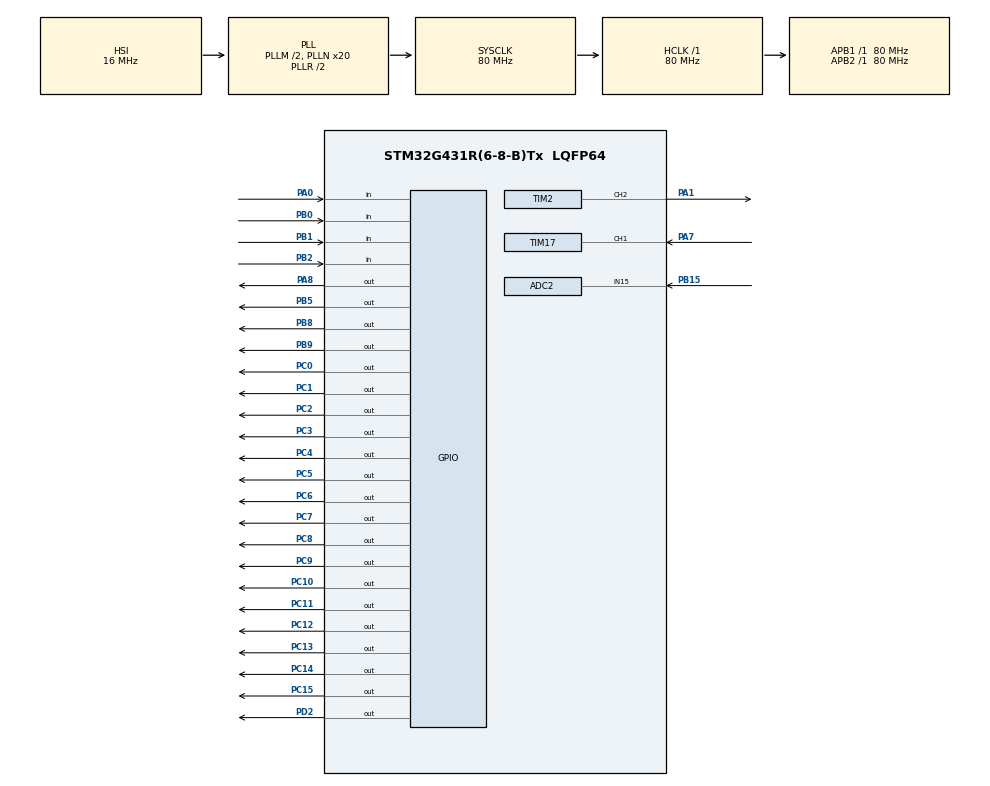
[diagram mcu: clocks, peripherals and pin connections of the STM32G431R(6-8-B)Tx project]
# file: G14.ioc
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ADC2.Channel-0\#ChannelRegularConversion=ADC_CHANNEL_15
ADC2.NbrOfConversionFlag=1
ADC2.OffsetNumber-0\#ChannelRegularConversion=ADC_OFFSET_NONE
ADC2.Rank-0\#ChannelRegularConversion=1
ADC2.SamplingTime-0\#ChannelRegularConversion=ADC_SAMPLETIME_640CYCLES_5
Mcu.Family=STM32G4
Mcu.Name=STM32G431R(6-8-B)Tx
Mcu.Package=LQFP64
NVIC.PriorityGroup=NVIC_PRIORITYGROUP_4
NVIC.TIM1_BRK_TIM15_IRQn=true\:0\:0\:false\:false\:true\:true\:true\:true
NVIC.TIM1_TRG_COM_TIM17_IRQn=true\:0\:0\:false\:false\:true\:true\:true\:true
PA0.Signal=GPIO_Input
PA1.Signal=S_TIM2_CH2
PA7.Signal=S_TIM17_CH1
PA8.Signal=GPIO_Output
PB0.Signal=GPIO_Input
PB1.Signal=GPIO_Input
PB15.Mode=IN15-Single-Ended
PB15.Signal=ADC2_IN15
PB2.Signal=GPIO_Input
PB5.Signal=GPIO_Output
PB8-BOOT0.Signal=GPIO_Output
PB9.Signal=GPIO_Output
PC0.Signal=GPIO_Output
PC1.Signal=GPIO_Output
PC10.Signal=GPIO_Output
PC11.Signal=GPIO_Output
PC12.Signal=GPIO_Output
PC13.Signal=GPIO_Output
PC14-OSC32_IN.Signal=GPIO_Output
PC15-OSC32_OUT.Signal=GPIO_Output
PC2.Signal=GPIO_Output
PC3.Signal=GPIO_Output
PC4.Signal=GPIO_Output
PC5.Signal=GPIO_Output
PC6.Signal=GPIO_Output
PC7.Signal=GPIO_Output
PC8.Signal=GPIO_Output
PC9.Signal=GPIO_Output
PD2.Signal=GPIO_Output
PF0-OSC_IN.Mode=HSE-External-Oscillator
PF0-OSC_IN.Signal=RCC_OSC_IN
PF1-OSC_OUT.Mode=HSE-External-Oscillator
PF1-OSC_OUT.Signal=RCC_OSC_OUT
ProjectManager.HeapSize=0x200
ProjectManager.StackSize=0x400
ProjectManager.TargetToolchain=MDK-ARM V5
RCC.ADC12Freq_Value=80000000
RCC.AHBFreq_Value=80000000
RCC.APB1Freq_Value=80000000
RCC.APB1TimFreq_Value=80000000
RCC.APB2Freq_Value=80000000
RCC.APB2TimFreq_Value=80000000
RCC.CortexFreq_Value=80000000
RCC.EXTERNAL_CLOCK_VALUE=12288000
RCC.HCLKFreq_Value=80000000
RCC.HSE_VALUE=24000000
RCC.HSI48_VALUE=48000000
RCC.HSI_VALUE=16000000
RCC.LSE_VALUE=32768
RCC.PLLM=RCC_PLLM_DIV2
RCC.PLLN=20
RCC.SYSCLKFreq_VALUE=80000000
RCC.SYSCLKSource=RCC_SYSCLKSOURCE_PLLCLK
RCC.USBFreq_Value=80000000
RCC.VCOOutputFreq_Value=160000000
SH.S_TIM17_CH1.0=TIM17_CH1,Input_Capture1_from_TI1
SH.S_TIM2_CH2.0=TIM2_CH2,PWM Generation2 CH2
TIM15.AutoReloadPreload=TIM_AUTORELOAD_PRELOAD_ENABLE
TIM15.PeriodNoDither=999
TIM15.Prescaler=7999
TIM17.AutoReloadPreload=TIM_AUTORELOAD_PRELOAD_DISABLE
TIM17.Channel=TIM_CHANNEL_1
TIM17.PeriodNoDither=0xffff
TIM17.Prescaler=79
TIM2.AutoReloadPreload=TIM_AUTORELOAD_PRELOAD_ENABLE
TIM2.Channel-PWM\ Generation2\ CH2=TIM_CHANNEL_2
TIM2.PeriodNoDither=999
TIM2.Prescaler=79
TIM2.PulseNoDither_2=350
VP_SYS_VS_DBSignals.Mode=DisableDeadBatterySignals
VP_TIM15_VS_ClockSourceINT.Mode=Internal
VP_TIM17_VS_ClockSourceINT.Mode=Enable_Timer
board=custom

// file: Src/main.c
/* USER CODE BEGIN Header */
/**
  ******************************************************************************
  * @file           : main.c
  * @brief          : Main program body
  ******************************************************************************
  * @attention
  *
  * <h2><center>&copy; Copyright (c) 2021 STMicroelectronics.
  * All rights reserved.</center></h2>
  *
  * This software component is licensed by ST under BSD 3-Clause license,
  * the "License"; You may not use this file except in compliance with the
  * License. You may obtain a copy of the License at:
  *                        opensource.org/licenses/BSD-3-Clause
  *
  ******************************************************************************
  */
/* USER CODE END Header */

#include "main.h"
#include "adc.h"
#include "tim.h"
#include "gpio.h"

/* USER CODE BEGIN Includes */
#include "led.h"
#include "key.h"
#include "stdio.h"
#include "string.h"
#include "math.h"

/* USER CODE END Includes */

void SystemClock_Config(void);

/* USER CODE BEGIN 0 */

#define Display_DATA 0
#define Display_PARA 1
#define Display_RECD 2

u8 Display_Mode = 0;

//1
u8 M = 0;//0 L,1 H
double P = 0.32;
double V = 0.0;

double V_temp  = 0.0;
//2
u8 R = 1;
u8 K = 1;

u8 R_temp = 1;
u8 K_temp = 1;

//3
u8 N = 0;
double MH = 0.0;
double ML = 0.0;

//输出频率
u32 F = 4000;

//KEY
uint32_t keyTick  = 0;

_Bool m_flag = 0;
_Bool rk_change = 0;

//lock
_Bool B4_flag = 0;
_Bool lock = 0;
u32 B4_cnt = 0;

//LED

u8 led_ctrl = 0x00;
void Led_Process(void)
{
	if(Display_Mode == Display_DATA)
		led_ctrl |= 0x01;
	else
		led_ctrl &= ~0x01;

	if(lock == 1)
		led_ctrl |= 0x04;
	else
		led_ctrl &= ~0x04;

	Led_Control(led_ctrl);
}
void Key_Process(void)
{
	if(uwTick - keyTick < 20) return;
	keyTick = uwTick;

	Key_Read();

	if(Trg & 0x01)
	{
		LCD_Clear(Black);
		Display_Mode = (Display_Mode + 1)%3;
		if(Display_Mode == Display_PARA)
		{
			rk_change = 0;
			R_temp = R;
			K_temp = K;
		}

		if(Display_Mode == Display_DATA)
		{
			R = R_temp;
			K = K_temp;
		}

	}

	if(Trg & 0x02)
	{
		if(Display_Mode == Display_DATA)
		{
			if(m_flag == 0)
			{

				m_flag = 1;
				N++;
			}
		}

		if(Display_Mode == Display_PARA)
		{
			rk_change = !rk_change;
		}
	}

	if(Trg & 0x04)
	{
		if(Display_Mode == Display_PARA)
		{
			if(rk_change == 0)
			{
					R_temp++;
				if(R_temp == 11)
					R_temp = 1;
			}
			if(rk_change == 1)
			{
					K_temp++;
				if(K_temp == 11)
					K_temp = 1;
			}
		}
	}

	if(Trg & 0x08)
	{
		if(Display_Mode == Display_PARA)
		{
			if(rk_change == 0)
			{
					R_temp--;
				if(R_temp == 0)
					R_temp = 10;
			}
			if(rk_change == 1)
			{
					K_temp--;
				if(K_temp == 0)
					K_temp = 10;
			}
		}

		if(Display_Mode == Display_DATA)
		{
			if(lock == 1)
				lock = 0;
		}

	}

	if(Cont & 0x08)
	{
		if(Display_Mode == Display_DATA)
		{
			B4_flag = 1;
		}
	}
	else
	{
		B4_flag = 0;
		B4_cnt = 0;
	}

}

//PA1
void PWM_Process(void)
{
	//

//	if(M == 0)
//	TIM2->ARR = 1e6/4000 - 1;
//	if(M == 1)
//	TIM2->ARR = 1e6/8000 - 1;
	TIM2->ARR = 1e6/F - 1;
	TIM2->CCR2 = (TIM2->ARR + 1) * P;
}

//PA7
u32 tim_cnt = 0;
u32 PA7_F;

//ML
_Bool ML_flag = 0;
u32 ML_cnt = 0;
//MH
_Bool MH_flag = 0;
u32 MH_cnt = 0;

uint32_t mlTick = 0;

void HAL_TIM_IC_CaptureCallback(TIM_HandleTypeDef *htim)
{

		tim_cnt = __HAL_TIM_GetCounter(&htim17);
	__HAL_TIM_SetCounter(&htim17,0);

	PA7_F = 1e6/tim_cnt;

	V = PA7_F*2*3.14*R/(100 * K); //变化的值可以进行滤波

//	if(M == 0) //低频
//	{

//		if((V -ML) >= 0.1 && ML_flag == 0) //这里精确到小数点后一位
//		{
//			V_temp = V;//2s前的变量
//			ML_flag = 1;
//			//ML_cnt = 0; //每次有新的最大值出现，从新计时问题？本身不准,遵守兼容原则
//		}

//	}
//
//	if(M == 1) //高频
//	{

//		if((V -MH) >= 0.1 && MH_flag == 0) //这里精确到小数点后一位
//		{
//			V_temp = V;//2s前的变量
//			MH_flag = 1;
//			//ML_cnt = 0; //每次有新的最大值出现，从新计时问题？本身不准
//		}

//	}

//电子设计方法
	if(M == 0)
	{
		//条件一：第一次出现最大速度
		if(V > ML && ML_flag == 0)
		{
			ML_flag = 1;
			V_temp = V;
			mlTick = uwTick; //从头计时

		}
		else if(ML_flag == 1)
		{
			//条件二：保持2s不变---嵌套的条件
			if(fabs(V - V_temp) < 0.5) //精度0.5
			{
				if(uwTick - mlTick > 2000)
				{
						ML = V;
						ML_flag = 0;
						Led_Control(0x40);
				}
			}
			else
				ML_flag = 0;
		}
		else
			ML_flag = 0;

	}

	HAL_TIM_IC_Start_IT(&htim17,TIM_CHANNEL_1);

}

//ADC
u32 adc_val;
double r37_v;
void ADC_Process(void)
{
	HAL_ADC_Start(&hadc2);
	adc_val = HAL_ADC_GetValue(&hadc2);

	r37_v = adc_val/4095.0f*3.3f;

	if(lock == 0)
	{
		if(r37_v < 1)
			P = 0.1;
		else if(r37_v > 3)
			P = 0.85;
		else
			P = 0.75/2.0 * (r37_v - 1) + 0.1;
	}

}

//LCD
//uint32_t lcdTick = 0;
void LCD_Process(void)
{
//	if(uwTick - lcdTick < 100) return;
//	lcdTick = uwTick;

	u8 display_buf[30];

	if(Display_Mode == Display_DATA)
	{
		sprintf((char *)display_buf,"        DATA  ");
		LCD_DisplayStringLine(Line1,display_buf);

		if(M == 0)
		sprintf((char *)display_buf,"     M=L");
		if(M == 1)
		sprintf((char *)display_buf,"     M=H");
		LCD_DisplayStringLine(Line3,display_buf);

		sprintf((char *)display_buf,"     P=%2.0f%%  ",P*100);
		LCD_DisplayStringLine(Line4,display_buf);

		sprintf((char *)display_buf,"     V=%3.1f      ",V);
		LCD_DisplayStringLine(Line5,display_buf);
	}

	if(Display_Mode == Display_PARA)
	{
		sprintf((char *)display_buf,"        PARA  ");
		LCD_DisplayStringLine(Line1,display_buf);

		sprintf((char *)display_buf,"     R=%d  ",R_temp);
		LCD_DisplayStringLine(Line3,display_buf);

		sprintf((char *)display_buf,"     K=%d  ",K_temp);
		LCD_DisplayStringLine(Line4,display_buf);

	}

	if(Display_Mode == Display_RECD)
	{
		sprintf((char *)display_buf,"        RECD  ");
		LCD_DisplayStringLine(Line1,display_buf);

		sprintf((char *)display_buf,"     N=%d",N);
		LCD_DisplayStringLine(Line3,display_buf);

		sprintf((char *)display_buf,"     MH=%.1f        ",MH);
		LCD_DisplayStringLine(Line4,display_buf);

		sprintf((char *)display_buf,"     ML=%.1f        ",ML);
		LCD_DisplayStringLine(Line5,display_buf);
	}

}
//100ms

//m
u32 m_cnt = 0;
//B4

void HAL_TIM_PeriodElapsedCallback(TIM_HandleTypeDef *htim)
{

	if(htim == &htim15)
	{
		if(m_flag == 1)
		{
			m_cnt++;
			led_ctrl ^= 0x02;
			if(m_cnt>= 50)
			{
				if(Display_Mode == Display_DATA)
					M = (M+1)%2;
				m_flag = 0;
				m_cnt = 0;
				led_ctrl &=~0x02;
			}
				//模式切换
			if(M == 1)
				F +=80;
			if(M == 0)
				F -=80;
		}

	//lock
		if(B4_flag == 1)
		{
			B4_cnt++;
			if(B4_cnt >= 20)
			{
				B4_flag = 0;
				B4_cnt = 0;
				lock = 1;
			}
		}

//		//ML
//		if(ML_flag == 1)
//		{
//			ML_cnt++;
//			if(ML_cnt >= 20) //相当与每200ms比较一次
//			{
//				ML_cnt = 0;
//				ML_flag = 0;
//				if(fabs(V - V_temp) < 0.1)
//				{
//					ML = V_temp;
//				}
//			}
//		}
//
//		//MH
//		if(MH_flag == 1)
//		{
//			MH_cnt++;
//			if(MH_cnt >= 20) //相当与每200ms比较一次
//			{
//				MH_cnt = 0;
//				MH_flag = 0;
//				if(fabs(V - V_temp) < 0.1)
//				{
//					MH = V_temp;
//				}
//			}
//		}

	}

}

/* USER CODE END 0 */

int main(void)
{

  /* MCU Configuration--------------------------------------------------------*/

  /* Reset of all peripherals, Initializes the Flash interface and the Systick. */
  HAL_Init();

  /* Configure the system clock */
  SystemClock_Config();

  /* Initialize all configured peripherals */
  MX_GPIO_Init();
  MX_ADC2_Init();
  MX_TIM2_Init();
  MX_TIM17_Init();
  MX_TIM15_Init();
  /* USER CODE BEGIN 2 */

    LCD_Init();

		//PWM
		HAL_TIM_PWM_Start(&htim2,TIM_CHANNEL_2);

		//PWM_IC
		HAL_TIM_IC_Start_IT(&htim17,TIM_CHANNEL_1);

		//TIM15
		HAL_TIM_Base_Start_IT(&htim15);
  /* USER CODE END 2 */

  /* Infinite loop */
  /* USER CODE BEGIN WHILE */

    LCD_Clear(Black);
    LCD_SetBackColor(Black);
    LCD_SetTextColor(White);

//    LCD_DrawLine(120, 0, 320, Horizontal);
//    LCD_DrawLine(0, 160, 240, Vertical);
//    HAL_Delay(1000);
//    LCD_Clear(Blue);

//    LCD_DrawRect(70, 210, 100, 100);
//    HAL_Delay(1000);
//    LCD_Clear(Blue);

//    LCD_DrawCircle(120, 160, 50);
//    HAL_Delay(1000);

//    LCD_Clear(Blue);
//    LCD_DisplayStringLine(Line4, (unsigned char *)"    Hello,world.   ");
//    HAL_Delay(1000);

//    LCD_SetBackColor(White);
//    LCD_DisplayStringLine(Line0, (unsigned char *)"                    ");
//    LCD_SetBackColor(Black);
//    LCD_DisplayStringLine(Line1, (unsigned char *)"                    ");
//    LCD_SetBackColor(Grey);
//    LCD_DisplayStringLine(Line2, (unsigned char *)"                    ");
//    LCD_SetBackColor(Blue);
//    LCD_DisplayStringLine(Line3, (unsigned char *)"                    ");
//    LCD_SetBackColor(Blue2);
//    LCD_DisplayStringLine(Line4, (unsigned char *)"                    ");
//    LCD_SetBackColor(Red);
//    LCD_DisplayStringLine(Line5, (unsigned char *)"                    ");
//    LCD_SetBackColor(Magenta);
//    LCD_DisplayStringLine(Line6, (unsigned char *)"                    ");
//    LCD_SetBackColor(Green);
//    LCD_DisplayStringLine(Line7, (unsigned char *)"                    ");
//    LCD_SetBackColor(Cyan);
//    LCD_DisplayStringLine(Line8, (unsigned char *)"                    ");
//    LCD_SetBackColor(Yellow);
//    LCD_DisplayStringLine(Line9, (unsigned char *)"                    ");

		Led_Control(0x00);
    while (1)
    {
    /* USER CODE END WHILE */

    /* USER CODE BEGIN 3 */
			Key_Process();
			PWM_Process();
			ADC_Process();
			LCD_Process();
			//Led_Process();
    }
  /* USER CODE END 3 */
}

void SystemClock_Config(void)
{
  RCC_OscInitTypeDef RCC_OscInitStruct = {0};
  RCC_ClkInitTypeDef RCC_ClkInitStruct = {0};
  RCC_PeriphCLKInitTypeDef PeriphClkInit = {0};

  /** Configure the main internal regulator output voltage
  */
  HAL_PWREx_ControlVoltageScaling(PWR_REGULATOR_VOLTAGE_SCALE1);
  /** Initializes the CPU, AHB and APB busses clocks
  */
  RCC_OscInitStruct.OscillatorType = RCC_OSCILLATORTYPE_HSI;
  RCC_OscInitStruct.HSIState = RCC_HSI_ON;
  RCC_OscInitStruct.HSICalibrationValue = RCC_HSICALIBRATION_DEFAULT;
  RCC_OscInitStruct.PLL.PLLState = RCC_PLL_ON;
  RCC_OscInitStruct.PLL.PLLSource = RCC_PLLSOURCE_HSI;
  RCC_OscInitStruct.PLL.PLLM = RCC_PLLM_DIV2;
  RCC_OscInitStruct.PLL.PLLN = 20;
  RCC_OscInitStruct.PLL.PLLP = RCC_PLLP_DIV2;
  RCC_OscInitStruct.PLL.PLLQ = RCC_PLLQ_DIV2;
  RCC_OscInitStruct.PLL.PLLR = RCC_PLLR_DIV2;
  if (HAL_RCC_OscConfig(&RCC_OscInitStruct) != HAL_OK)
  {
    Error_Handler();
  }
  /** Initializes the CPU, AHB and APB busses clocks
  */
  RCC_ClkInitStruct.ClockType = RCC_CLOCKTYPE_HCLK|RCC_CLOCKTYPE_SYSCLK
                              |RCC_CLOCKTYPE_PCLK1|RCC_CLOCKTYPE_PCLK2;
  RCC_ClkInitStruct.SYSCLKSource = RCC_SYSCLKSOURCE_PLLCLK;
  RCC_ClkInitStruct.AHBCLKDivider = RCC_SYSCLK_DIV1;
  RCC_ClkInitStruct.APB1CLKDivider = RCC_HCLK_DIV1;
  RCC_ClkInitStruct.APB2CLKDivider = RCC_HCLK_DIV1;

  if (HAL_RCC_ClockConfig(&RCC_ClkInitStruct, FLASH_LATENCY_3) != HAL_OK)
  {
    Error_Handler();
  }
  /** Initializes the peripherals clocks
  */
  PeriphClkInit.PeriphClockSelection = RCC_PERIPHCLK_ADC12;
  PeriphClkInit.Adc12ClockSelection = RCC_ADC12CLKSOURCE_SYSCLK;
  if (HAL_RCCEx_PeriphCLKConfig(&PeriphClkInit) != HAL_OK)
  {
    Error_Handler();
  }
}

void Error_Handler(void)
{
}

/************************ (C) COPYRIGHT STMicroelectronics *****END OF FILE****/
